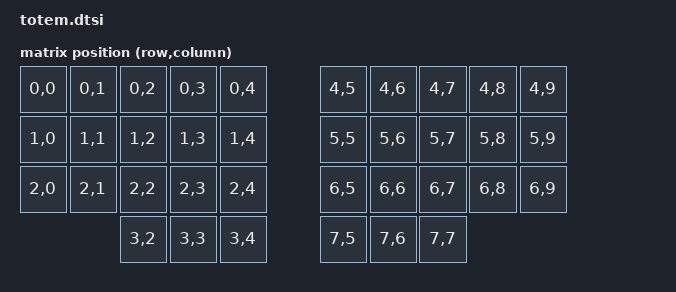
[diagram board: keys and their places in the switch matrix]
/*
 * Copyright (c) 2022 The ZMK Contributors
 *
 * SPDX-License-Identifier: MIT
 */

#include <dt-bindings/zmk/matrix_transform.h>

/ {
    chosen {
        zmk,kscan = &kscan0;
        zmk,matrix_transform = &default_transform;
    };

    default_transform: keymap_transform_0 {
        compatible = "zmk,matrix-transform";
        columns = <10>;
        rows = <8>;
//             | SW01  | SW02  | SW03  | SW04  | SW05  |  | SW05  | SW04  | SW03  | SW02  | SW01  |
//             | SW06  | SW07  | SW08  | SW09  | SW10  |  | SW10  | SW09  | SW08  | SW07  | SW06  | 
//             | SW11  | SW12  | SW13  | SW14  | SW15  |  | SW15  | SW14  | SW13  | SW12  | SW11  |
//                             | SW16  | SW17  | SW18  |  | SW18  | SW17  | SW16  | 
        map = <
                RC(0,0) RC(0,1) RC(0,2) RC(0,3) RC(0,4)    RC(4,5) RC(4,6) RC(4,7) RC(4,8) RC(4,9)
                RC(1,0) RC(1,1) RC(1,2) RC(1,3) RC(1,4)    RC(5,5) RC(5,6) RC(5,7) RC(5,8) RC(5,9)
                RC(2,0) RC(2,1) RC(2,2) RC(2,3) RC(2,4)    RC(6,5) RC(6,6) RC(6,7) RC(6,8) RC(6,9)
                                RC(3,2) RC(3,3) RC(3,4)    RC(7,5) RC(7,6) RC(7,7)         
        >;
    };

    kscan0: kscan_0 {
        compatible = "zmk,kscan-gpio-matrix";
        label = "KSCAN";
        diode-direction = "col2row"; 
    };
};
